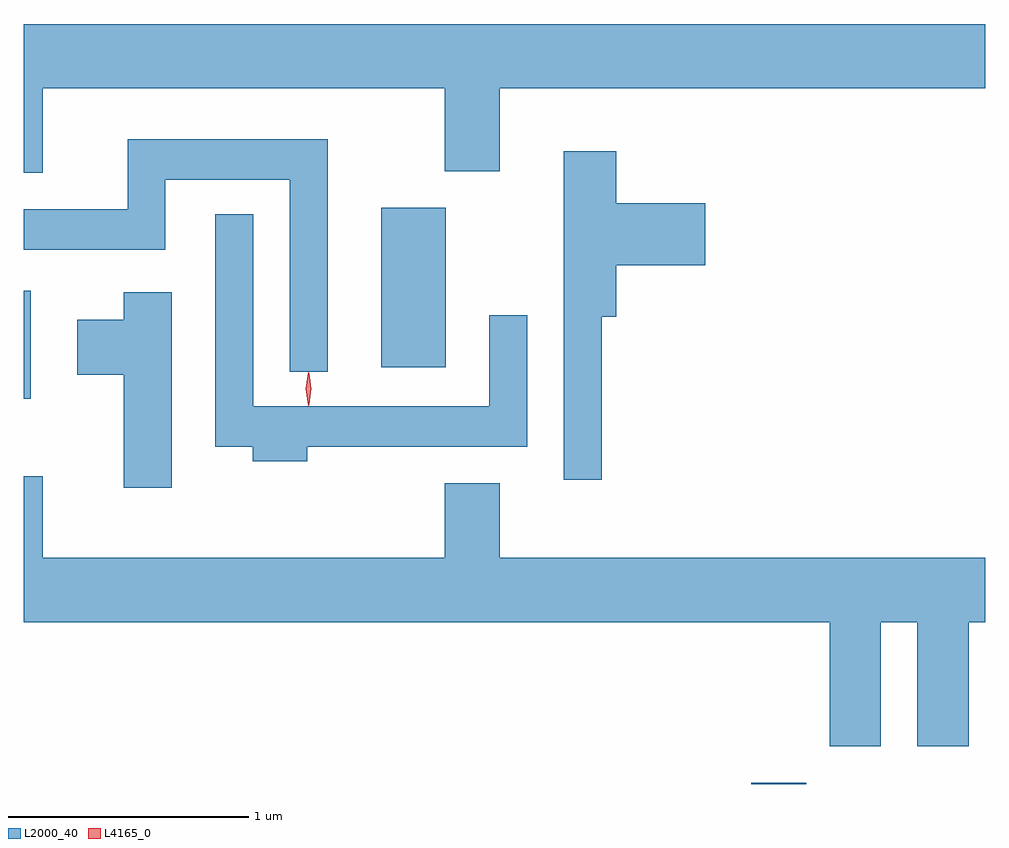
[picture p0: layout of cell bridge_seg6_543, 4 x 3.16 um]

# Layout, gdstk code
import gdstk
lib = gdstk.Library(unit=1e-6, precision=1e-09)
def R(c, l, rs):  # rectangles x0, y0, x1, y1
    for r in rs: c.add(gdstk.rectangle(r[:2], r[2:], *l))
def P(c, l, *ps):  # polygons
    for p in ps: c.add(gdstk.Polygon(p, *l))
L2000_40 = (2000, 40)
L4165_0 = (4165, 0)

bridge_seg6_543 = lib.new_cell('bridge_seg6_543')
R(bridge_seg6_543, L2000_40, [(452.856,1649.263,453.084,1649.269), (449.829,1650.866,449.859,1651.314), (451.316,1650.996,451.584,1651.659)])
P(bridge_seg6_543, L2000_40, [(449.909,1652.156),(451.581,1652.156),(451.581,1651.811),(451.809,1651.811),(451.809,1652.156),(453.829,1652.156),(453.829,1652.424),(449.829,1652.424),(449.829,1651.806),(449.909,1651.806)],
  [(451.094,1651.944),(450.261,1651.944),(450.261,1651.654),(449.829,1651.654),(449.829,1651.486),(450.419,1651.486),(450.419,1651.776),(450.936,1651.776),(450.936,1650.978),(451.094,1650.978)],
  [(452.234,1651.206),(452.294,1651.206),(452.294,1651.421),(452.664,1651.421),(452.664,1651.679),(452.294,1651.679),(452.294,1651.894),(452.076,1651.894),(452.076,1650.528),(452.234,1650.528)],
  [(451.009,1650.666),(451.924,1650.666),(451.924,1651.213),(451.766,1651.213),(451.766,1650.834),(450.784,1650.834),(450.784,1651.633),(450.626,1651.633),(450.626,1650.666),(450.781,1650.666),(450.781,1650.606),(451.009,1650.606)],
  [(450.444,1651.309),(450.246,1651.309),(450.246,1651.194),(450.051,1651.194),(450.051,1650.966),(450.246,1650.966),(450.246,1650.496),(450.444,1650.496)],
  [(453.394,1649.936),(453.546,1649.936),(453.546,1649.421),(453.759,1649.421),(453.759,1649.936),(453.829,1649.936),(453.829,1650.204),(451.809,1650.204),(451.809,1650.514),(451.581,1650.514),(451.581,1650.204),(449.909,1650.204),(449.909,1650.544),(449.829,1650.544),(449.829,1649.936),(453.181,1649.936),(453.181,1649.421),(453.394,1649.421)])
P(bridge_seg6_543, L4165_0, [(451.012,1650.837),(451.012,1650.838),(451.002,1650.907),(451.012,1650.976),(451.012,1650.976),(451.013,1650.976),(451.022,1650.907),(451.013,1650.838)],
  [(451.015,1650.839),(451.015,1650.84),(451.005,1650.906),(451.014,1650.972),(451.015,1650.973),(451.016,1650.972),(451.025,1650.906),(451.016,1650.84)])

lib.write_gds('bridge_seg6_543.gds')
